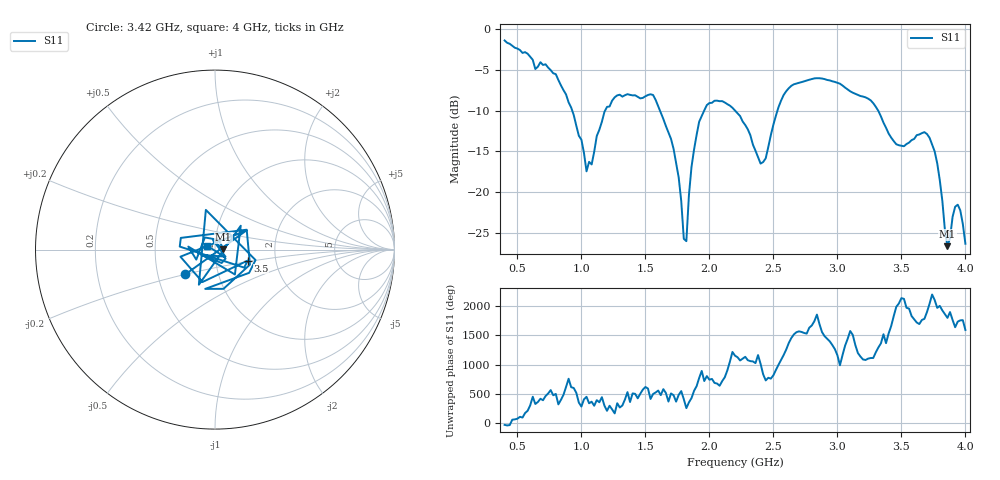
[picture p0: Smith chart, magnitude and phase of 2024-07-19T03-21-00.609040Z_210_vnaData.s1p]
!Created with skrf (http://scikit-rf.org).
# Hz S RI R 50.0
!freq ReS11 ImS11
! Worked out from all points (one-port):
!   181 points, 400 MHz to 4 GHz, reference 50 ohm
!   lowest |S11| = -26.7 dB at 3.86 GHz (marker M1), VSWR 1.10, Z = 54.9 + j0.155 ohm
!   |S11| at or under -10 dB: 1.614 GHz to 1.959 GHz (344.9 MHz wide, 19.3 % of centre); 2.201 GHz to 2.532 GHz (331.1 MHz wide, 14 % of centre); 3.319 GHz to end of sweep (the widest 3 of 4)
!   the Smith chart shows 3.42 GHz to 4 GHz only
!   S11 on the Smith chart (normalised r, x): 3.42 GHz: 0.69, -0.20; 3.5 GHz: 1.43, -0.18; 4 GHz: 0.92, +0.04
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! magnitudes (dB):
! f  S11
! 400 MHz  -1.4
! 860 MHz  -7.5
! 1 GHz  -13.6
! 1.04 GHz  -17.5
! 1.18 GHz  -10.1
! 1.3 GHz  -8.0
! 1.56 GHz  -8.1
! 1.7 GHz  -13.5
! 1.76 GHz  -18.2
! 1.8 GHz  -25.8
! 1.82 GHz  -26.0
! 1.86 GHz  -16.9
! 1.92 GHz  -11.4
! 2.04 GHz  -8.8
! 2.2 GHz  -10.0
! 2.4 GHz  -16.5
! 2.56 GHz  -8.8
! 2.66 GHz  -6.8
! 3.1 GHz  -7.6
! 3.28 GHz  -9.1
! 3.42 GHz  -13.3
! 3.5 GHz  -14.3
! 3.56 GHz  -13.9
! 3.68 GHz  -12.6
! 3.76 GHz  -15.0
! 3.86 GHz  -26.7
! 3.94 GHz  -21.6
! 4 GHz  -26.4
